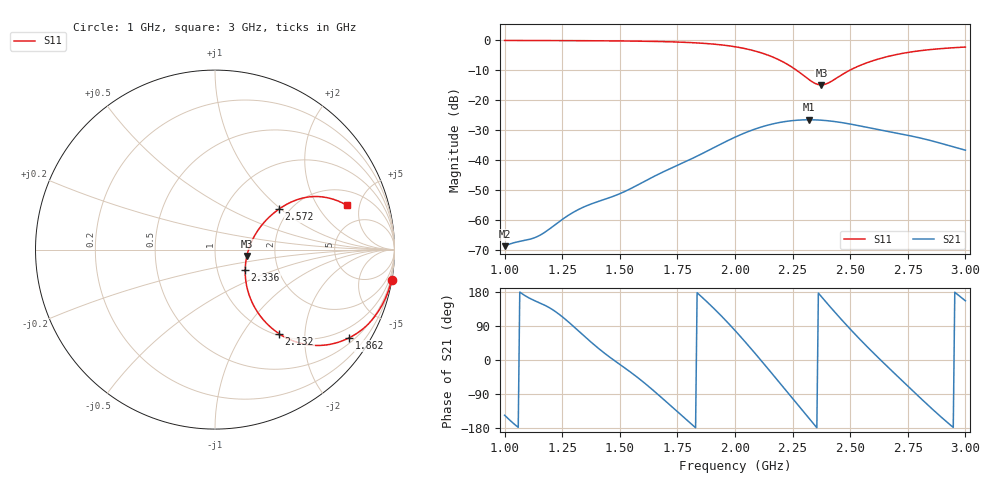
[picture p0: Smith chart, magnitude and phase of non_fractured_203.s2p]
! TOUCHSTONE file generated by CST MICROWAVE STUDIO
! Date and time: Sat Mar  8 13:55:24 2025
! Project name: non_fractured.cst
! Parameters = {B=2.5; D=160; F=15; Feed=2.85625; L=100; M=20; R=0.384908; S=2; Theta=180; length=57.125; wave=114.25}
! Header version: 2024
! Port assignment regex: !\s*Touchstone port\s*([0-9]+)\s*=\s*(CST MWS port|CST DES external port|CST DES block port)\s*(.+)\s* \(\"(.*)\"\)(\s*mode\s*([0-9]+))?.*
! Touchstone port assignment:
! Touchstone port 1 = CST MWS port 1 ("")
! Touchstone port 2 = CST MWS port 2 ("")
# GHz S DB R 50
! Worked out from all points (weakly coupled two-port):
!   305 points, 1 GHz to 3 GHz, reference 50 ohm
!   highest |S21| = -26.49 dB at 2.322 GHz (marker M1); lowest = -68.7 dB at 1 GHz (marker M2)
!   lowest |S11| = -14.9 dB at 2.375 GHz (marker M3), VSWR 1.44, Z = 71.3 - j5.23 ohm
!   |S11| at or under -10 dB: 2.268 GHz to 2.497 GHz (229.4 MHz wide, 9.63 % of centre)
!   S12 and S22 are empty: the file has one direction only
!   S11 on the Smith chart (normalised r, x): 1 GHz: 0, -12; 1.862 GHz: 0.65, -3.22; 2.132 GHz: 1.03, -1.48; 2.336 GHz: 1.36, -0.32; 2.572 GHz: 1.77, +0.98; 3 GHz: 3.06, +3.77
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1  -0.02 -9.7  -68.67 -145.7  -200.00 0.0  -200.00 0.0
1.14474  -0.04 -11.8  -65.37 152.7  -200.00 0.0  -200.00 0.0
1.17763  -0.04 -12.3  -63.87 143.5  -200.00 0.0  -200.00 0.0
1.27632  -0.07 -14.0  -58.39 100.9  -200.00 0.0  -200.00 0.0
1.33553  -0.09 -15.1  -55.88 68.6  -200.00 0.0  -200.00 0.0
1.50658  -0.19 -19.0  -50.95 -14.5  -200.00 0.0  -200.00 0.0
1.67105  -0.37 -24.2  -44.53 -93.8  -200.00 0.0  -200.00 0.0
1.86184  -0.97 -33.3  -37.61 162.9  -200.00 0.0  -200.00 0.0
2  -2.11 -42.9  -32.30 78.0  -200.00 0.0  -200.00 0.0
2.06579  -3.12 -48.0  -30.17 32.7  -200.00 0.0  -200.00 0.0
2.13158  -4.60 -52.7  -28.51 -14.6  -200.00 0.0  -200.00 0.0
2.22368  -7.81 -55.7  -27.01 -82.4  -200.00 0.0  -200.00 0.0
2.32237  -13.15 -39.9  -26.49 -155.0  -200.00 0.0  -200.00 0.0
2.33553  -13.84 -34.2  -26.50 -164.5  -200.00 0.0  -200.00 0.0
2.35526  -14.60 -23.5  -26.55 -178.8  -200.00 0.0  -200.00 0.0
2.375  -14.85 -11.3  -26.63 167.1  -200.00 0.0  -200.00 0.0
2.40789  -14.10 7.3  -26.86 143.9  -200.00 0.0  -200.00 0.0
2.47368  -11.01 26.4  -27.56 98.9  -200.00 0.0  -200.00 0.0
2.57237  -7.47 32.4  -29.00 35.9  -200.00 0.0  -200.00 0.0
2.67105  -5.23 31.0  -30.50 -23.0  -200.00 0.0  -200.00 0.0
2.82895  -3.21 24.7  -33.03 -114.1  -200.00 0.0  -200.00 0.0
3  -2.21 18.5  -36.64 156.3  -200.00 0.0  -200.00 0.0
